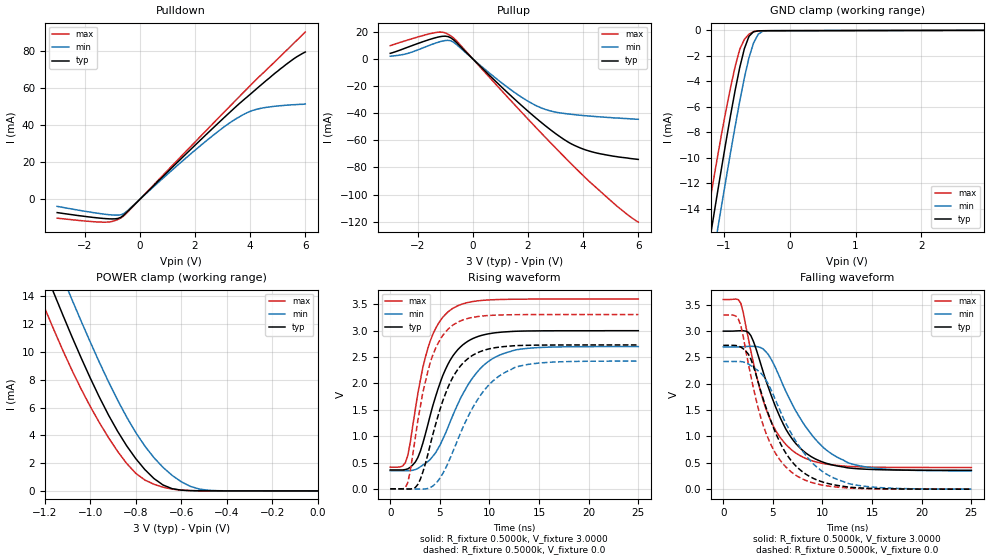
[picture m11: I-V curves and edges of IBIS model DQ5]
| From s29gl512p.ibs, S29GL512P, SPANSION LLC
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|   Model DQ5
[Model]  DQ5
Model_type I/O
Vinl =   0.9000V
Vinh =   2.1000V
Vmeas =  1.5000V
Cref =   30.0000pF
C_comp   2.0000pF   2.0000pF   2.0000pF
[Temperature Range]   25.0000   85.0000   -40.0000
[Pullup Reference]   3.0000V   2.7000V   3.6000V
[Pulldown Reference]   0.0V   0.0V   0.0V
[POWER Clamp Reference]   3.0000V   2.7000V   3.6000V
[GND Clamp Reference]   0.0V   0.0V   0.0V
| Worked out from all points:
|   slope of the pulldown table from 0 to 0.45 V, typ, clamps not added: 67.8 ohm
|   slope of the pullup table from 0 to 0.45 V, typ, clamps not added: 49.6 ohm
|   GND clamp passes 1 mA (typ) near -0.66 V on its own axis
|   POWER clamp passes 1 mA (typ) near -0.73 V on its own axis
|   rising waveform, R_fixture 0.5000k, V_fixture 3.0000: 20-80 % time 2.83ns typ, 3.85ns min, 2.22ns max; typ from 0.359 V to 3 V
|   rising waveform, R_fixture 0.5000k, V_fixture 0.0: 20-80 % time 2.88ns typ, 3.97ns min, 2.25ns max; typ from 0.001 V to 2.73 V
|   falling waveform, R_fixture 0.5000k, V_fixture 3.0000: 20-80 % time 3.6ns typ, 4.5ns min, 3.08ns max; typ from 3 V to 0.358 V
|   falling waveform, R_fixture 0.5000k, V_fixture 0.0: 20-80 % time 3.54ns typ, 4.37ns min, 3.07ns max; typ from 2.73 V to 0 V
[Pulldown]
|Voltage   I(typ)   I(min)   I(max)
-3V       -7.17mA    -3.81mA    -10.17mA
-1.2V     -10.46mA   -8.17mA    -12.3mA
-800mV    -10.33mA   -8.536mA   -10.91mA
-600mV    -8.755mA   -7.865mA   -9.131mA
2V        29.14mA    26.45mA    30.87mA
2.9V      41.86mA    37.29mA    44.61mA
3.5V      50.14mA    43.5mA     53.71mA
4V        56.57mA    47.39mA    61.25mA
4.4V      61.7mA     49.09mA    67.11mA
5.3V      72.65mA    50.72mA    80mA
5.7V      76.89mA    51.06mA    85.79mA
6V        79.39mA    51.4mA     90.14mA
[Pullup]
|Voltage   I(typ)   I(min)   I(max)
-3V       4.17mA     2.07mA     9.85mA
-2.3V     9.19mA     4.53mA     14.41mA
-1.3V     15.99mA    12.11mA    19.69mA
-1V       16.86mA    13.65mA    19.25mA
-800mV    15.59mA    13.41mA    17.03mA
1.2V      -23.73mA   -20.04mA   -26.85mA
1.9V      -36.73mA   -29.92mA   -42.19mA
2.4V      -45.46mA   -35.41mA   -52.95mA
3.3V      -59.29mA   -40.14mA   -71.85mA
3.9V      -65.66mA   -41.51mA   -84.04mA
5.2V      -71.98mA   -43.51mA   -108.1mA
6V        -74.08mA   -44.47mA   -120.4mA
[GND_clamp]
|Voltage   I(typ)   I(min)   I(max)
-3V       -75.82mA   -77.86mA   -73.16mA
-1.32V    -19.79mA   -22.68mA   -16.77mA
-1.25V    -17.52mA   -20.44mA   -14.55mA
-1.18V    -15.28mA   -18.22mA   -12.36mA
-1.11V    -13.06mA   -16.01mA   -10.24mA
-1.04V    -10.87mA   -13.83mA   -8.2mA
-830mV    -4.678mA   -7.502mA   -2.815mA
-690mV    -1.422mA   -3.703mA   -695uA
-550mV    -95.97uA   -969.6uA   -93.26uA
-480mV    -32.5uA    -297.2uA   -34.91uA
-340mV    -18.5uA    -22.15uA   -21.13uA
2.95V     9.466uA    11.01uA    6.466uA
[POWER_clamp]
|Voltage   I(typ)   I(min)   I(max)
-3V       95.71mA    96.84mA    93.75mA
-1.24V    17.48mA    20.14mA    14.74mA
-1.2V     15.84mA    18.51mA    13.14mA
-1.16V    14.22mA    16.9mA     11.59mA
-1.08V    11.07mA    13.74mA    8.667mA
-960mV    6.75mA     9.254mA    4.92mA
-840mV    3.253mA    5.319mA    1.985mA
-720mV    900.4uA    2.4mA      486.6uA
-640mV    170uA      1.126mA    139uA
-560mV    29.4uA     337.8uA    32.8uA
-480mV    15.26uA    54.7uA     17.13uA
0V        9.881uA    8.893uA    11.86uA
[Ramp]
| variable   typ   min   max
dV/dt_r  1.6375/2.8560n   1.4539/3.9321n   1.9836/2.2197n
dV/dt_f  1.5845/3.5677n   1.4116/4.4584n   1.9127/3.0509n
R_load = 0.5000k
[Rising Waveform]
R_fixture= 0.5000k
V_fixture= 3.0000
V_fixture_min= 2.7000
V_fixture_max= 3.6000
|time   V(typ)   V(min)   V(max)
0s        358.8mV    346mV      411.9mV
1.52ns    366.3mV    345.6mV    495.8mV
2.02ns    409.8mV    346.4mV    880.8mV
2.78ns    592.2mV    387.3mV    1.807V
3.54ns    1.037V     483.1mV    2.495V
4.29ns    1.576V     618mV      2.93V
6.31ns    2.521V     1.394V     3.425V
8.59ns    2.872V     2.175V     3.56V
11.36ns   2.975V     2.562V     3.593V
25ns      3V         2.699V     3.6V
[Rising Waveform]
R_fixture= 0.5000k
V_fixture= 0.0
V_fixture_min= 0.0
V_fixture_max= 0.0
|time   V(typ)   V(min)   V(max)
0s        891uV      857.5uV    1.024mV
1.77ns    -4.299mV   111.4uV    118.6mV
2.78ns    83.32mV    -4.359mV   1.292V
3.28ns    313.4mV    -3.822mV   1.821V
4.29ns    1.028V     53.49mV    2.538V
5.3ns     1.671V     292.4mV    2.912V
6.31ns    2.117V     705mV      3.106V
9.09ns    2.605V     1.773V     3.275V
12.37ns   2.713V     2.284V     3.304V
25ns      2.73V      2.424V     3.307V
[Falling Waveform]
R_fixture= 0.5000k
V_fixture= 3.0000
V_fixture_min= 2.7000
V_fixture_max= 3.6000
|time   V(typ)   V(min)   V(max)
0s        2.999V     2.699V     3.599V
1.77ns    3.007V     2.702V     3.527V
2.78ns    2.914V     2.711V     2.618V
3.79ns    2.368V     2.685V     1.827V
4.8ns     1.796V     2.474V     1.294V
6.31ns    1.138V     1.855V     848.8mV
7.32ns    863.4mV    1.482V     684.2mV
9.85ns    526.3mV    833.9mV    495.5mV
12.63ns   402.7mV    497.5mV    431.8mV
25ns      358.1mV    346.3mV    411.1mV
[Falling Waveform]
R_fixture= 0.5000k
V_fixture= 0.0
V_fixture_min= 0.0
V_fixture_max= 0.0
|time   V(typ)   V(min)   V(max)
0s        2.729V     2.423V     3.306V
1.52ns    2.716V     2.423V     3.227V
2.53ns    2.562V     2.376V     2.378V
3.54ns    2.018V     2.244V     1.527V
4.55ns    1.425V     1.994V     951.3mV
5.81ns    848.2mV    1.452V     529.5mV
7.07ns    490.1mV    985.4mV    295.5mV
9.34ns    182.4mV    433mV      103.9mV
12.63ns   39.15mV    106.5mV    20.71mV
25ns      183.4uV    728.7uV    74.62uV
